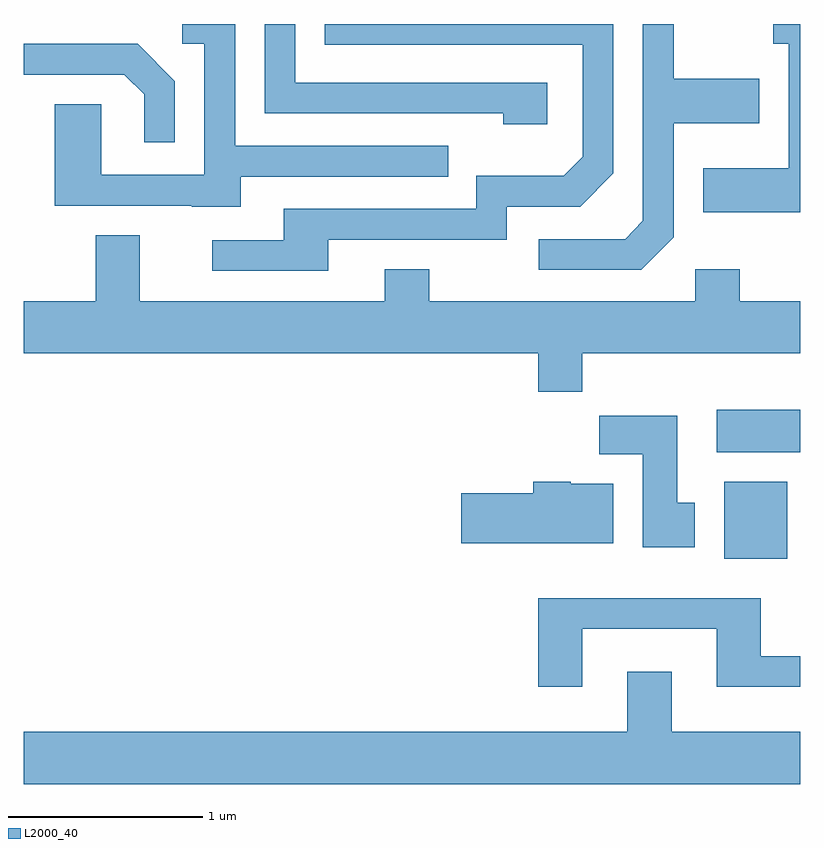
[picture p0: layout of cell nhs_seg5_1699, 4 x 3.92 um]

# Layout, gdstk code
import gdstk
lib = gdstk.Library(unit=1e-6, precision=1e-09)
def R(c, l, rs):  # rectangles x0, y0, x1, y1
    for r in rs: c.add(gdstk.rectangle(r[:2], r[2:], *l))
def P(c, l, *ps):  # polygons
    for p in ps: c.add(gdstk.Polygon(p, *l))
L2000_40 = (2000, 40)

nhs_seg5_1699 = lib.new_cell('nhs_seg5_1699')
R(nhs_seg5_1699, L2000_40, [(239.221,1431.316,239.544,1431.714), (239.181,1431.866,239.611,1432.084)])
P(nhs_seg5_1699, L2000_40, [(236.729,1433.286),(237.798,1433.286),(237.798,1433.444),(236.699,1433.444),(236.699,1434.072),(236.428,1434.072),(236.428,1433.971),(236.541,1433.971),(236.541,1433.294),(236.009,1433.294),(236.009,1433.659),(235.771,1433.659),(235.771,1433.136),(236.475,1433.136),(236.475,1433.131),(236.729,1433.131)],
  [(238.309,1433.769),(237.009,1433.769),(237.009,1434.072),(236.851,1434.072),(236.851,1433.611),(238.081,1433.611),(238.081,1433.556),(238.309,1433.556)],
  [(237.179,1432.961),(238.099,1432.961),(238.099,1433.131),(238.477,1433.131),(238.649,1433.304),(238.649,1434.072),(237.161,1434.072),(237.161,1433.966),(238.491,1433.966),(238.491,1433.387),(238.394,1433.289),(237.941,1433.289),(237.941,1433.119),(236.951,1433.119),(236.951,1432.959),(236.583,1432.959),(236.583,1432.801),(237.179,1432.801)],
  [(239.611,1434.072),(239.473,1434.072),(239.473,1433.971),(239.551,1433.971),(239.551,1433.329),(239.111,1433.329),(239.111,1433.101),(239.611,1433.101)],
  [(238.959,1432.974),(238.959,1433.561),(239.399,1433.561),(239.399,1433.789),(238.959,1433.789),(238.959,1434.072),(238.801,1434.072),(238.801,1433.057),(238.709,1432.964),(238.263,1432.964),(238.263,1432.806),(238.792,1432.806)],
  [(236.389,1433.777),(236.197,1433.969),(235.611,1433.969),(235.611,1433.811),(236.129,1433.811),(236.231,1433.709),(236.231,1433.463),(236.389,1433.463)],
  [(238.489,1432.376),(239.611,1432.376),(239.611,1432.644),(239.299,1432.644),(239.299,1432.809),(239.071,1432.809),(239.071,1432.644),(237.699,1432.644),(237.699,1432.809),(237.471,1432.809),(237.471,1432.644),(236.209,1432.644),(236.209,1432.984),(235.981,1432.984),(235.981,1432.644),(235.611,1432.644),(235.611,1432.376),(238.261,1432.376),(238.261,1432.176),(238.489,1432.176)],
  [(239.069,1431.604),(238.979,1431.604),(238.979,1432.054),(238.576,1432.054),(238.576,1431.856),(238.801,1431.856),(238.801,1431.376),(239.069,1431.376)],
  [(238.649,1431.704),(238.43,1431.704),(238.43,1431.714),(238.236,1431.714),(238.236,1431.654),(237.866,1431.654),(237.866,1431.396),(238.649,1431.396)],
  [(238.489,1430.956),(239.181,1430.956),(239.181,1430.656),(239.611,1430.656),(239.611,1430.814),(239.409,1430.814),(239.409,1431.114),(238.261,1431.114),(238.261,1430.656),(238.489,1430.656)],
  [(239.611,1430.424),(238.949,1430.424),(238.949,1430.734),(238.721,1430.734),(238.721,1430.424),(235.611,1430.424),(235.611,1430.156),(239.611,1430.156)])

lib.write_gds('nhs_seg5_1699.gds')
